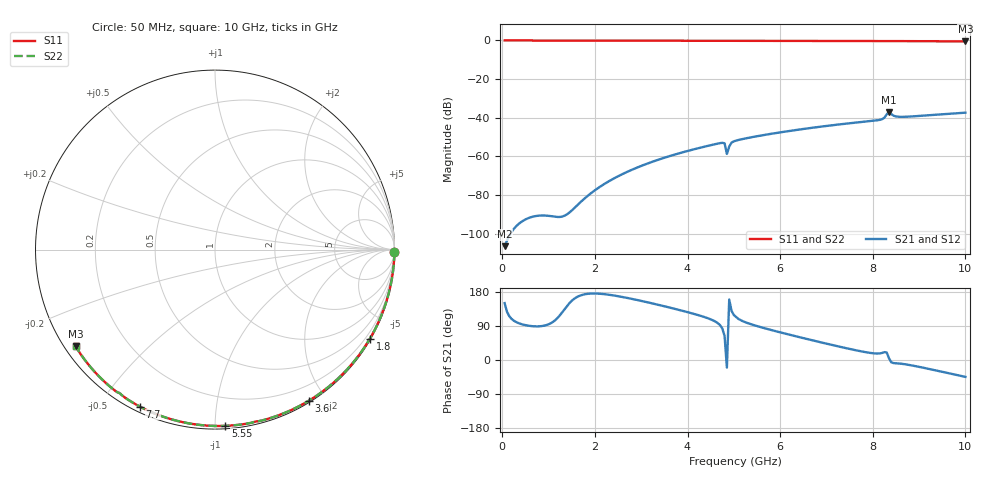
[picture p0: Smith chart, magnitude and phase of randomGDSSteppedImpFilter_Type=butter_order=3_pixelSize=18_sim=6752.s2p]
! freq	dB(S11)	phase(S11)	dB(S12)	phase(S12)
!  dB(S21)	phase(S21)	dB(S22)	phase(S22)
!S-par simulation data
#  GHz  S  DB  R 50
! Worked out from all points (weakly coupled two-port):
!   200 points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, 50 MHz to 10 GHz, reference 50 ohm
!   highest |S21| = -36.99 dB at 8.35 GHz (marker M1); lowest = -106.5 dB at 50 MHz (marker M2)
!   lowest |S11| = -0.5 dB at 10 GHz (marker M3), VSWR 35.51, Z = 1.55 - j15.7 ohm
!   |S11| at or under -10 dB: nowhere
!   |S22| runs from -0.5 to 0.0 dB; largest |S21 - S12| = 0
!   S11 on the Smith chart (normalised r, x): 50 MHz: open; 1.8 GHz: 0.03, -3.75; 3.6 GHz: 0.02, -1.80; 5.55 GHz: 0.02, -1.06; 7.7 GHz: 0.02, -0.63; 10 GHz: 0.03, -0.31
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0.05  -0.00 -0.9  -106.48 150.1  -106.48 150.1  -0.00 -0.8
1.75  -0.04 -29.0  -82.38 172.5  -82.38 172.5  -0.04 -29.0
1.8  -0.04 -29.8  -81.32 173.8  -81.32 173.8  -0.04 -29.8
1.9  -0.04 -31.5  -79.36 175.2  -79.36 175.2  -0.04 -31.5
2.2  -0.05 -36.3  -74.34 173.8  -74.34 173.8  -0.05 -36.3
2.6  -0.05 -42.7  -69.11 166.1  -69.11 166.1  -0.06 -42.7
3.4  -0.07 -55.1  -61.49 144.7  -61.49 144.7  -0.07 -55.1
3.6  -0.08 -58.2  -59.96 138.8  -59.96 138.8  -0.08 -58.2
4.75  -0.11 -75.3  -52.99 83.4  -52.99 83.4  -0.11 -75.3
4.8  -0.12 -76.1  -53.24 63.6  -53.24 63.6  -0.12 -76.1
4.85  -0.14 -76.8  -58.75 -20.1  -58.75 -20.1  -0.14 -76.8
4.9  -0.13 -77.4  -54.91 159.7  -54.91 159.7  -0.13 -77.4
4.95  -0.12 -78.1  -52.88 129.8  -52.88 129.8  -0.12 -78.1
5.05  -0.12 -79.6  -51.85 113.4  -51.85 113.4  -0.12 -79.6
5.55  -0.14 -86.7  -49.36 87.7  -49.36 87.7  -0.14 -86.7
6.7  -0.20 -102.4  -45.17 51.8  -45.17 51.8  -0.20 -102.4
7.7  -0.27 -115.6  -42.34 24.0  -42.34 24.0  -0.27 -115.6
8.2  -0.32 -122.2  -40.76 18.6  -40.76 18.6  -0.32 -122.2
8.35  -0.35 -123.8  -36.99 4.7  -36.99 4.7  -0.35 -123.8
8.45  -0.32 -125.2  -38.95 -8.2  -38.95 -8.2  -0.32 -125.2
8.6  -0.34 -127.2  -39.54 -9.6  -39.54 -9.6  -0.34 -127.2
10  -0.49 -145.2  -37.39 -44.6  -37.39 -44.6  -0.49 -145.2
